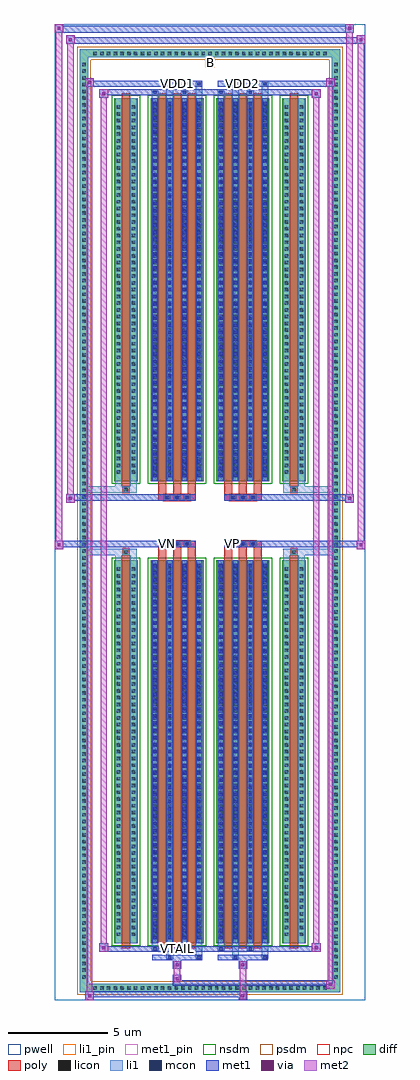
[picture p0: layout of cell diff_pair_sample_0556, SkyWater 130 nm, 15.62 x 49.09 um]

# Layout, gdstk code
import gdstk
lib = gdstk.Library(unit=1e-6, precision=5e-09)
def R(c, l, rs):  # rectangles x0, y0, x1, y1
    for r in rs: c.add(gdstk.rectangle(r[:2], r[2:], *l))
def A(c, l, x, y, w, h, nx, ny, dx, dy):  # array of equal rectangles
    R(c, l, [(x+i*dx, y+j*dy, x+i*dx+w, y+j*dy+h) for i in range(nx) for j in range(ny)])
def P(c, l, *ps):  # polygons
    for p in ps: c.add(gdstk.Polygon(p, *l))
pwell = (64, 44)
diff = (65, 20)
poly = (66, 20)
licon = (66, 44)
li1_pin = (67, 16)
li1 = (67, 20)
mcon = (67, 44)
met1_pin = (68, 16)
met1 = (68, 20)
via = (68, 44)
met2 = (69, 20)
nsdm = (93, 44)
psdm = (94, 20)
npc = (95, 20)

diff_pair_sample_0556 = lib.new_cell('diff_pair_sample_0556')
R(diff_pair_sample_0556, pwell, [(-7.81,-24.11,7.81,24.98), (-5.13,-22.3,-0.01,-0.8), (0.01,-22.3,5.13,-0.8), (-5.13,0.8,-0.01,22.3), (0.01,0.8,5.13,22.3)])
A(diff_pair_sample_0556, diff, -5.985, -23.71, 0.41, 0.41, 35, 2, 0.34, 47.01)
A(diff_pair_sample_0556, diff, -6.54, -23.155, 0.41, 0.41, 1, 136, 0, 0.34)
A(diff_pair_sample_0556, diff, 6.13, -23.155, 0.41, 0.41, 1, 136, 0, 0.34)
R(diff_pair_sample_0556, diff, [(-5.985,-23.71,5.985,-23.3), (-6.54,-23.155,-6.13,23.155), (6.13,-23.155,6.54,23.155), (-4.82,-21.255,-3.63,-1.985), (-2.99,-21.255,-0.32,-1.985), (0.32,-21.255,2.99,-1.985), (3.63,-21.255,4.82,-1.985), (-4.82,1.985,-3.63,21.255), (-2.99,1.985,-0.32,21.255), (0.32,1.985,2.99,21.255), (3.63,1.985,4.82,21.255), (-5.985,23.3,5.985,23.71)])
P(diff_pair_sample_0556, diff, [(6.54,23.71),(-6.54,23.71),(-6.54,-23.3),(-6.13,-23.3),(-6.13,23.3),(6.13,23.3),(6.13,-23.3),(-6.13,-23.3),(-6.54,-23.3),(-6.54,-23.71),(6.54,-23.71)])
A(diff_pair_sample_0556, poly, -2.6, -21.505, 0.41, 19.77, 3, 2, 0.74, 23.24)
A(diff_pair_sample_0556, poly, 0.71, -21.505, 0.41, 19.77, 3, 2, 0.74, 23.24)
A(diff_pair_sample_0556, poly, -2.6, -1.735, 0.41, 0.405, 3, 2, 0.74, 3.065)
A(diff_pair_sample_0556, poly, 0.71, -1.735, 0.41, 0.405, 3, 2, 0.74, 3.065)
A(diff_pair_sample_0556, poly, -2.32, -1.33, 0.33, 0.33, 3, 2, 0.5, 2.33)
A(diff_pair_sample_0556, poly, 0.99, -1.33, 0.33, 0.33, 3, 2, 0.5, 2.33)
R(diff_pair_sample_0556, poly, [(-4.43,-21.505,-4.02,-1.735), (4.02,-21.505,4.43,-1.735), (-4.39,-1.735,-4.06,-1.405), (-4.39,-1.735,-4.06,-1.405), (4.06,-1.735,4.39,-1.405), (4.06,-1.735,4.39,-1.405), (-2.6,-1.33,-0.71,-1), (0.71,-1.33,2.6,-1), (-2.6,1,-0.71,1.33), (0.71,1,2.6,1.33), (-4.39,1.405,-4.06,1.735), (-4.39,1.405,-4.06,1.735), (4.06,1.405,4.39,1.735), (4.06,1.405,4.39,1.735), (-4.43,1.735,-4.02,21.505), (4.02,1.735,4.43,21.505)])
A(diff_pair_sample_0556, licon, -5.865, -23.59, 0.17, 0.17, 35, 2, 0.34, 47.01)
A(diff_pair_sample_0556, licon, -6.42, -23.035, 0.17, 0.17, 1, 136, 0, 0.34)
A(diff_pair_sample_0556, licon, 6.25, -23.035, 0.17, 0.17, 1, 136, 0, 0.34)
A(diff_pair_sample_0556, licon, -4.68, -20.885, 0.17, 0.17, 1, 55, 0, 0.34)
A(diff_pair_sample_0556, licon, -3.94, -20.885, 0.17, 0.17, 1, 55, 0, 0.34)
A(diff_pair_sample_0556, licon, -2.85, -20.885, 0.17, 0.17, 4, 55, 0.74, 0.34)
A(diff_pair_sample_0556, licon, 0.46, -20.885, 0.17, 0.17, 4, 55, 0.74, 0.34)
A(diff_pair_sample_0556, licon, 3.77, -20.885, 0.17, 0.17, 1, 55, 0, 0.34)
A(diff_pair_sample_0556, licon, 4.51, -20.885, 0.17, 0.17, 1, 55, 0, 0.34)
A(diff_pair_sample_0556, licon, -2.24, -1.25, 0.17, 0.17, 3, 2, 0.5, 2.33)
A(diff_pair_sample_0556, licon, 1.07, -1.25, 0.17, 0.17, 3, 2, 0.5, 2.33)
A(diff_pair_sample_0556, licon, -4.68, 2.355, 0.17, 0.17, 1, 55, 0, 0.34)
A(diff_pair_sample_0556, licon, -3.94, 2.355, 0.17, 0.17, 1, 55, 0, 0.34)
A(diff_pair_sample_0556, licon, -2.85, 2.355, 0.17, 0.17, 4, 55, 0.74, 0.34)
A(diff_pair_sample_0556, licon, 0.46, 2.355, 0.17, 0.17, 4, 55, 0.74, 0.34)
A(diff_pair_sample_0556, licon, 3.77, 2.355, 0.17, 0.17, 1, 55, 0, 0.34)
A(diff_pair_sample_0556, licon, 4.51, 2.355, 0.17, 0.17, 1, 55, 0, 0.34)
R(diff_pair_sample_0556, licon, [(-4.31,-1.655,-4.14,-1.485), (4.14,-1.655,4.31,-1.485), (-4.31,1.485,-4.14,1.655), (4.14,1.485,4.31,1.655)])
R(diff_pair_sample_0556, li1_pin, [(-0.25,22.8,0.25,23.3)])
A(diff_pair_sample_0556, li1, -5.945, -23.67, 0.33, 0.33, 35, 2, 0.34, 47.01)
A(diff_pair_sample_0556, li1, -6.5, -23.115, 0.33, 0.33, 1, 136, 0, 0.34)
A(diff_pair_sample_0556, li1, 6.17, -23.115, 0.33, 0.33, 1, 136, 0, 0.34)
A(diff_pair_sample_0556, li1, -2.93, -21.255, 0.33, 19.27, 4, 2, 0.74, 23.24)
A(diff_pair_sample_0556, li1, 0.38, -21.255, 0.33, 19.27, 4, 2, 0.74, 23.24)
A(diff_pair_sample_0556, li1, -2.85, -21.065, 0.17, 0.17, 4, 53, 0.74, 0.36)
A(diff_pair_sample_0556, li1, -2.85, -21.065, 0.17, 18.89, 4, 2, 0.74, 23.24)
A(diff_pair_sample_0556, li1, 0.46, -21.065, 0.17, 0.17, 4, 53, 0.74, 0.36)
A(diff_pair_sample_0556, li1, 0.46, -21.065, 0.17, 18.89, 4, 2, 0.74, 23.24)
A(diff_pair_sample_0556, li1, -4.76, -20.965, 0.33, 0.33, 1, 55, 0, 0.34)
A(diff_pair_sample_0556, li1, -4.02, -20.965, 0.33, 0.33, 1, 55, 0, 0.34)
A(diff_pair_sample_0556, li1, -2.93, -20.965, 0.33, 0.33, 4, 55, 0.74, 0.34)
A(diff_pair_sample_0556, li1, 0.38, -20.965, 0.33, 0.33, 4, 55, 0.74, 0.34)
A(diff_pair_sample_0556, li1, 3.69, -20.965, 0.33, 0.33, 1, 55, 0, 0.34)
A(diff_pair_sample_0556, li1, 4.43, -20.965, 0.33, 0.33, 1, 55, 0, 0.34)
A(diff_pair_sample_0556, li1, -2.32, -1.33, 0.33, 0.33, 3, 2, 0.5, 2.33)
A(diff_pair_sample_0556, li1, 0.99, -1.33, 0.33, 0.33, 3, 2, 0.5, 2.33)
A(diff_pair_sample_0556, li1, -2.85, 2.175, 0.17, 0.17, 4, 53, 0.74, 0.36)
A(diff_pair_sample_0556, li1, 0.46, 2.175, 0.17, 0.17, 4, 53, 0.74, 0.36)
A(diff_pair_sample_0556, li1, -4.76, 2.275, 0.33, 0.33, 1, 55, 0, 0.34)
A(diff_pair_sample_0556, li1, -4.02, 2.275, 0.33, 0.33, 1, 55, 0, 0.34)
A(diff_pair_sample_0556, li1, -2.93, 2.275, 0.33, 0.33, 4, 55, 0.74, 0.34)
A(diff_pair_sample_0556, li1, 0.38, 2.275, 0.33, 0.33, 4, 55, 0.74, 0.34)
A(diff_pair_sample_0556, li1, 3.69, 2.275, 0.33, 0.33, 1, 55, 0, 0.34)
A(diff_pair_sample_0556, li1, 4.43, 2.275, 0.33, 0.33, 1, 55, 0, 0.34)
R(diff_pair_sample_0556, li1, [(-6.54,-23.71,-6.13,-23.3), (-6.54,-23.71,-6.13,-23.3), (-6.13,-23.71,6.13,-23.3), (6.13,-23.71,6.54,-23.3), (6.13,-23.71,6.54,-23.3), (-6.54,-23.3,-6.13,23.3), (6.13,-23.3,6.54,23.3), (-2.19,-22.06,-1.86,-21.255), (-2.11,-22.06,-1.94,-21.89), (-0.71,-22.06,-0.38,-21.255), (-0.63,-22.06,-0.46,-21.89), (1.12,-22.06,1.45,-21.255), (1.2,-22.06,1.37,-21.89), (2.6,-22.06,2.93,-21.255), (2.68,-22.06,2.85,-21.89), (-2.93,-21.63,-2.6,-21.255), (-2.85,-21.63,-2.68,-21.46), (-1.45,-21.63,-1.12,-21.255), (-1.37,-21.63,-1.2,-21.46), (0.38,-21.63,0.71,-21.255), (0.46,-21.63,0.63,-21.46), (1.86,-21.63,2.19,-21.255), (1.94,-21.63,2.11,-21.46), (-4.76,-21.255,-4.43,-1.985), (-4.02,-21.255,-3.69,-1.985), (3.69,-21.255,4.02,-1.985), (4.43,-21.255,4.76,-1.985), (-4.76,-1.985,-4.43,-1.405), (-4.02,-1.985,-3.69,-1.405), (3.69,-1.985,4.02,-1.405), (4.43,-1.985,4.76,-1.405), (-6.54,-1.735,-4.39,-1.405), (-4.76,-1.735,-4.39,-1.405), (-4.39,-1.735,-4.06,-1.405), (-4.06,-1.735,-3.69,-1.405), (3.69,-1.735,4.06,-1.405), (4.06,-1.735,4.39,-1.405), (4.06,-1.735,6.54,-1.405), (4.39,-1.735,4.76,-1.405), (-6.54,1.405,-4.39,1.735), (-4.76,1.405,-4.39,1.735), (-4.76,1.405,-4.43,1.985), (-4.39,1.405,-4.06,1.735), (-4.06,1.405,-3.69,1.735), (-4.02,1.405,-3.69,1.985), (3.69,1.405,4.06,1.735), (3.69,1.405,4.02,1.985), (4.06,1.405,4.39,1.735), (4.06,1.405,6.54,1.735), (4.39,1.405,4.76,1.735), (4.43,1.405,4.76,1.985), (-4.76,1.985,-4.43,21.255), (-4.02,1.985,-3.69,21.255), (3.69,1.985,4.02,21.255), (4.43,1.985,4.76,21.255), (-2.93,21.255,-2.6,21.63), (-2.19,21.255,-1.86,22.06), (-1.45,21.255,-1.12,21.63), (-0.71,21.255,-0.38,22.06), (0.38,21.255,0.71,21.63), (1.12,21.255,1.45,22.06), (1.86,21.255,2.19,21.63), (2.6,21.255,2.93,22.06), (-2.85,21.46,-2.68,21.63), (-1.37,21.46,-1.2,21.63), (0.46,21.46,0.63,21.63), (1.94,21.46,2.11,21.63), (-2.11,21.89,-1.94,22.06), (-0.63,21.89,-0.46,22.06), (1.2,21.89,1.37,22.06), (2.68,21.89,2.85,22.06), (-6.54,23.3,-6.13,23.71), (-6.54,23.3,-6.13,23.71), (-6.13,23.3,6.13,23.71), (6.13,23.3,6.54,23.71), (6.13,23.3,6.54,23.71)])
A(diff_pair_sample_0556, mcon, -2.85, -21.065, 0.17, 0.17, 4, 53, 0.74, 0.36)
A(diff_pair_sample_0556, mcon, 0.46, -21.065, 0.17, 0.17, 4, 53, 0.74, 0.36)
A(diff_pair_sample_0556, mcon, -2.24, -1.25, 0.17, 0.17, 3, 2, 0.5, 2.33)
A(diff_pair_sample_0556, mcon, 1.07, -1.25, 0.17, 0.17, 3, 2, 0.5, 2.33)
A(diff_pair_sample_0556, mcon, -2.85, 2.175, 0.17, 0.17, 4, 53, 0.74, 0.36)
A(diff_pair_sample_0556, mcon, 0.46, 2.175, 0.17, 0.17, 4, 53, 0.74, 0.36)
R(diff_pair_sample_0556, mcon, [(-2.11,-22.06,-1.94,-21.89), (-0.63,-22.06,-0.46,-21.89), (1.2,-22.06,1.37,-21.89), (2.68,-22.06,2.85,-21.89), (-2.85,-21.63,-2.68,-21.46), (-1.37,-21.63,-1.2,-21.46), (0.46,-21.63,0.63,-21.46), (1.94,-21.63,2.11,-21.46), (-2.85,21.46,-2.68,21.63), (-1.37,21.46,-1.2,21.63), (0.46,21.46,0.63,21.63), (1.94,21.46,2.11,21.63), (-2.11,21.89,-1.94,22.06), (-0.63,21.89,-0.46,22.06), (1.2,21.89,1.37,22.06), (2.68,21.89,2.85,22.06)])
R(diff_pair_sample_0556, met1_pin, [(-1.79,-21.67,-1.52,-21.4), (-2.29,-1.29,-2.02,-1.02), (1.02,-1.29,1.29,-1.02), (-1.79,21.85,-1.52,22.12), (1.52,21.85,1.79,22.12)])
A(diff_pair_sample_0556, met1, -2.91, -21.255, 0.29, 19.27, 4, 2, 0.74, 23.24)
A(diff_pair_sample_0556, met1, 0.4, -21.255, 0.29, 19.27, 4, 2, 0.74, 23.24)
A(diff_pair_sample_0556, met1, -2.91, -21.125, 0.29, 0.29, 4, 53, 0.74, 0.36)
A(diff_pair_sample_0556, met1, 0.4, -21.125, 0.29, 0.29, 4, 53, 0.74, 0.36)
A(diff_pair_sample_0556, met1, -2.3, -1.31, 0.29, 0.29, 3, 2, 0.5, 2.33)
A(diff_pair_sample_0556, met1, 1.01, -1.31, 0.29, 0.29, 3, 2, 0.5, 2.33)
A(diff_pair_sample_0556, met1, -2.91, 2.115, 0.29, 0.29, 4, 53, 0.74, 0.36)
A(diff_pair_sample_0556, met1, 0.4, 2.115, 0.29, 0.29, 4, 53, 0.74, 0.36)
R(diff_pair_sample_0556, met1, [(-6.27,-24.11,-5.84,-23.68), (1.44,-24.11,1.87,-23.68), (-6.27,-23.97,1.87,-23.68), (5.84,-23.54,6.27,-23.11), (-1.87,-23.4,6.27,-23.11), (-1.87,-23.26,-1.44,-22.83), (-1.87,-22.55,-1.44,-22.12), (1.44,-22.55,1.87,-22.12), (-2.91,-22.12,-0.4,-21.83), (-2.17,-22.12,-1.88,-21.83), (-0.69,-22.12,-0.4,-21.83), (0.4,-22.12,2.91,-21.83), (1.14,-22.12,1.43,-21.83), (2.62,-22.12,2.91,-21.83), (-5.56,-21.69,-5.13,-21.26), (-5.56,-21.69,-2.91,-21.4), (-2.91,-21.69,-2.62,-21.4), (-2.91,-21.69,-0.4,-21.4), (-1.43,-21.69,-1.14,-21.4), (-0.4,-21.69,0.4,-21.4), (0.4,-21.69,0.69,-21.4), (0.4,-21.69,2.91,-21.4), (1.88,-21.69,2.17,-21.4), (2.91,-21.69,5.56,-21.4), (5.13,-21.69,5.56,-21.26), (-7.81,-1.43,-7.38,-1), (7.38,-1.43,7.81,-1), (-7.81,-1.33,-0.71,-1), (-2.6,-1.33,-0.71,-1), (0.71,-1.33,2.6,-1), (0.71,-1.33,7.81,-1), (-7.24,0.9,-6.81,1.33), (6.81,0.9,7.24,1.33), (-7.24,1,-2.6,1.33), (-2.6,1,-0.71,1.33), (0.71,1,2.6,1.33), (2.6,1,7.24,1.33), (-5.56,21.26,-5.13,21.69), (5.13,21.26,5.56,21.69), (-5.56,21.4,-2.91,21.69), (-2.91,21.4,-2.62,21.69), (-2.91,21.4,-0.4,21.69), (-1.43,21.4,-1.14,21.69), (-0.4,21.4,0.4,21.69), (0.4,21.4,0.69,21.69), (0.4,21.4,2.91,21.69), (1.88,21.4,2.17,21.69), (2.91,21.4,5.56,21.69), (-6.27,21.83,-5.84,22.26), (-6.27,21.83,-2.91,22.12), (-2.91,21.83,-0.4,22.12), (-2.17,21.83,-1.88,22.12), (-0.69,21.83,-0.4,22.12), (0.4,21.83,2.91,22.12), (1.14,21.83,1.43,22.12), (2.62,21.83,2.91,22.12), (2.91,21.83,6.27,22.12), (5.84,21.83,6.27,22.26), (-7.24,23.98,-6.81,24.41), (-7.24,23.98,-5.13,24.31), (-5.13,23.98,5.13,24.31), (5.13,23.98,7.81,24.31), (7.38,23.98,7.81,24.41), (-7.81,24.55,-7.38,24.98), (-7.81,24.55,-5.13,24.88), (-5.13,24.55,5.13,24.88), (5.13,24.55,7.24,24.88), (6.81,24.55,7.24,24.98)])
R(diff_pair_sample_0556, via, [(-6.13,-23.97,-5.98,-23.82), (1.58,-23.97,1.73,-23.82), (5.98,-23.4,6.13,-23.25), (-1.73,-23.12,-1.58,-22.97), (-1.73,-22.41,-1.58,-22.26), (1.58,-22.41,1.73,-22.26), (-5.42,-21.55,-5.27,-21.4), (5.27,-21.55,5.42,-21.4), (-7.67,-1.29,-7.52,-1.14), (7.52,-1.29,7.67,-1.14), (-7.1,1.04,-6.95,1.19), (6.95,1.04,7.1,1.19), (-5.42,21.4,-5.27,21.55), (5.27,21.4,5.42,21.55), (-6.13,21.97,-5.98,22.12), (5.98,21.97,6.13,22.12), (-7.1,24.12,-6.95,24.27), (7.52,24.12,7.67,24.27), (-7.67,24.69,-7.52,24.84), (6.95,24.69,7.1,24.84)])
R(diff_pair_sample_0556, met2, [(-6.27,-24.11,-5.84,-23.68), (-6.2,-24.11,-5.91,22.26), (-5.91,-24.11,-5.84,-23.68), (-6.22,-24.06,-5.89,-23.73), (1.49,-24.06,1.82,-23.73), (1.49,-23.73,1.82,-22.5), (5.84,-23.54,6.27,-23.11), (5.91,-23.54,6.2,22.26), (6.2,-23.54,6.27,-23.11), (5.89,-23.49,6.22,-23.16), (-1.82,-23.21,-1.49,-22.88), (-1.82,-22.88,-1.49,-22.5), (-1.82,-22.5,-1.49,-22.17), (1.49,-22.5,1.82,-22.17), (-5.56,-21.69,-5.13,-21.26), (-5.49,-21.69,-5.2,21.69), (-5.2,-21.69,-5.13,-21.26), (5.13,-21.69,5.56,-21.26), (5.2,-21.69,5.49,21.69), (5.49,-21.69,5.56,-21.26), (-5.51,-21.64,-5.18,-21.31), (5.18,-21.64,5.51,-21.31), (-7.81,-1.43,-7.38,-1), (-7.76,-1.43,-7.43,24.98), (-7.43,-1.43,-7.38,-1), (7.38,-1.43,7.81,-1), (7.43,-1.43,7.76,24.41), (7.76,-1.43,7.81,-1), (-7.76,-1.38,-7.43,-1.05), (7.43,-1.38,7.76,-1.05), (-7.24,0.9,-6.81,1.33), (-7.19,0.9,-6.86,24.41), (-6.86,0.9,-6.81,1.33), (6.81,0.9,7.24,1.33), (6.86,0.9,7.19,24.98), (7.19,0.9,7.24,1.33), (-7.19,0.95,-6.86,1.28), (6.86,0.95,7.19,1.28), (-5.56,21.26,-5.13,21.69), (-5.2,21.26,-5.13,21.69), (5.13,21.26,5.56,21.69), (5.49,21.26,5.56,21.69), (-5.51,21.31,-5.18,21.64), (5.18,21.31,5.51,21.64), (-6.27,21.83,-5.84,22.26), (-5.91,21.83,-5.84,22.26), (5.84,21.83,6.27,22.26), (6.2,21.83,6.27,22.26), (-6.22,21.88,-5.89,22.21), (5.89,21.88,6.22,22.21), (-7.24,23.98,-6.81,24.41), (-6.86,23.98,-6.81,24.41), (7.38,23.98,7.81,24.41), (7.76,23.98,7.81,24.41), (-7.19,24.03,-6.86,24.36), (7.43,24.03,7.76,24.36), (-7.81,24.55,-7.38,24.98), (-7.43,24.55,-7.38,24.98), (6.81,24.55,7.24,24.98), (7.19,24.55,7.24,24.98), (-7.76,24.6,-7.43,24.93), (6.86,24.6,7.19,24.93)])
R(diff_pair_sample_0556, nsdm, [(-4.95,-21.385,-3.5,-1.855), (-3.12,-21.385,-0.19,-1.855), (0.19,-21.385,3.12,-1.855), (3.5,-21.385,4.95,-1.855), (-4.95,1.855,-3.5,21.385), (-3.12,1.855,-0.19,21.385), (0.19,1.855,3.12,21.385), (3.5,1.855,4.95,21.385)])
P(diff_pair_sample_0556, psdm, [(6.67,23.84),(-6.67,23.84),(-6.67,-23.17),(-6,-23.17),(-6,23.17),(6,23.17),(6,-23.17),(-6,-23.17),(-6.67,-23.17),(-6.67,-23.84),(6.67,-23.84)])
A(diff_pair_sample_0556, npc, -2.34, -1.35, 0.37, 0.37, 3, 2, 0.5, 2.33)
A(diff_pair_sample_0556, npc, 0.97, -1.35, 0.37, 0.37, 3, 2, 0.5, 2.33)
R(diff_pair_sample_0556, npc, [(-4.41,-1.755,-4.04,-1.385), (4.04,-1.755,4.41,-1.385), (-2.34,-1.35,-1.47,-0.98), (-2.34,-1.35,-1.47,-0.98), (-1.84,-1.35,-0.97,-0.98), (-1.84,-1.35,-0.97,-0.98), (0.97,-1.35,1.84,-0.98), (0.97,-1.35,1.84,-0.98), (1.47,-1.35,2.34,-0.98), (1.47,-1.35,2.34,-0.98), (-2.34,0.98,-1.47,1.35), (-2.34,0.98,-1.47,1.35), (-1.84,0.98,-0.97,1.35), (-1.84,0.98,-0.97,1.35), (0.97,0.98,1.84,1.35), (0.97,0.98,1.84,1.35), (1.47,0.98,2.34,1.35), (1.47,0.98,2.34,1.35), (-4.41,1.385,-4.04,1.755), (4.04,1.385,4.41,1.755)])
diff_pair_sample_0556.add(gdstk.Label('VTAIL', (-1.655,-21.535), layer=68, texttype=5))
diff_pair_sample_0556.add(gdstk.Label('VN', (-2.155,-1.155), layer=68, texttype=5))
diff_pair_sample_0556.add(gdstk.Label('VP', (1.155,-1.155), layer=68, texttype=5))
diff_pair_sample_0556.add(gdstk.Label('B', (0,23.05), layer=67, texttype=5))
diff_pair_sample_0556.add(gdstk.Label('VDD2', (1.655,21.985), layer=68, texttype=5))
diff_pair_sample_0556.add(gdstk.Label('VDD1', (-1.655,21.985), layer=68, texttype=5))

lib.write_gds('diff_pair_sample_0556.gds')
